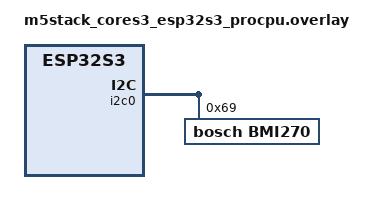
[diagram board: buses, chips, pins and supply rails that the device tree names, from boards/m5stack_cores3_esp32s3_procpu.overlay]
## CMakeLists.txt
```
# SPDX-License-Identifier: Apache-2.0

# 1. Basic Zephyr project setup
cmake_minimum_required(VERSION 3.20.5)
find_package(Zephyr REQUIRED HINTS $ENV{ZEPHYR_BASE})
project(imu_real_inference)

# 2. Add the Edge Impulse SDK as a subdirectory.
#    This includes the TFLite model source files and other dependencies.
include(edge-impulse-sdk/cmake/utils.cmake)
add_subdirectory(edge-impulse-sdk/cmake/zephyr)

# 3. Add model source files and the main application source file to the target.
#    In Zephyr, using target_sources(app ...) automatically creates the 'app' target.

#    Recursively find and add the model source files.
RECURSIVE_FIND_FILE_APPEND(MODEL_SOURCE "tflite-model" "*.cpp")
target_sources(app PRIVATE ${MODEL_SOURCE})

#    Add the main source file (main.cpp).
#    If the file is in the 'src' folder:
target_sources(app PRIVATE src/main.cpp)
#    If the file is in the project root directory:
#    target_sources(app PRIVATE main.cpp)

# 4. Specify include directories.
#    Add the project root directory to the include path.
target_include_directories(app PRIVATE .)

# 5. Suppress warnings from Edge Impulse SDK
target_compile_options(app PRIVATE -Wno-double-promotion -Wno-maybe-uninitialized)

# 6. Disable ESP-IDF specific hardware acceleration (ESP-NN and ESP-DSP)
target_compile_definitions(app PRIVATE
    EI_CLASSIFIER_TFLITE_ENABLE_ESP_NN=0
    EIDSP_USE_ESP_DSP=0
)

# 7. Add missing include directories for ESP-DSP
target_include_directories(app PRIVATE
    edge-impulse-sdk/porting/espressif/esp-dsp/modules/common/include
    edge-impulse-sdk/porting/espressif/esp-dsp/modules/math/include
    edge-impulse-sdk/porting/espressif/esp-dsp/modules/matrix/include
    edge-impulse-sdk/porting/espressif/esp-dsp/modules/fft/include
    edge-impulse-sdk/porting/espressif/esp-dsp/modules/dct/include
    edge-impulse-sdk/porting/espressif/esp-dsp/modules/conv/include
    edge-impulse-sdk/porting/espressif/esp-dsp/modules/iir/include
    edge-impulse-sdk/porting/espressif/esp-dsp/modules/fir/include
    edge-impulse-sdk/porting/espressif/esp-dsp/modules/windows/include
    edge-impulse-sdk/porting/espressif/esp-dsp/modules/support/include
    edge-impulse-sdk/porting/espressif/esp-dsp/modules/dotprod/include
)
```

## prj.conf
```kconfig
# ==============================================================================
# Basic System Configuration
# ==============================================================================
# Enable C++ language support
CONFIG_CPP=y
# Enable the standard C++ library (Glibcxx/Libc++)
CONFIG_GLIBCXX_LIBCPP=y
# Use Newlib C Library
CONFIG_NEWLIB_LIBC=y
# Enable floating-point formatting support (%f) for printf functions in Newlib
CONFIG_NEWLIB_LIBC_FLOAT_PRINTF=y

# Enable the FPU (Floating Point Unit)
CONFIG_FPU=y

# Increase the main thread stack size to 8192 bytes (often needed for ML models)
CONFIG_MAIN_STACK_SIZE=8192


# ==============================================================================
# Logging & Console
# ==============================================================================
# Enable the logging system
CONFIG_LOG=y
# Set the stack size for the log processing thread to 1024 bytes
CONFIG_LOG_PROCESS_THREAD_STACK_SIZE=1024

# Enable assert functionality for debugging
CONFIG_ASSERT=y

# Enable the console subsystem
CONFIG_CONSOLE=y
# Enable the UART console backend
CONFIG_UART_CONSOLE=y
# Enable line-editing support for the console
CONFIG_CONSOLE_GETLINE=y


# ==============================================================================
# Hardware Drivers
# ==============================================================================
# Enable GPIO (General-Purpose Input/Output) driver
CONFIG_GPIO=y
# Enable I2C (Inter-Integrated Circuit) driver
CONFIG_I2C=y
# Enable the sensor subsystem
CONFIG_SENSOR=y

CONFIG_MPU6050=y

# ==============================================================================
# Thread Analyzer & Runtime Statistics
# ==============================================================================
CONFIG_THREAD_ANALYZER=y
CONFIG_THREAD_ANALYZER_USE_PRINTK=y
CONFIG_THREAD_ANALYZER_AUTO=y
CONFIG_THREAD_ANALYZER_AUTO_INTERVAL=5
CONFIG_THREAD_NAME=y
CONFIG_SCHED_THREAD_USAGE=y
CONFIG_SCHED_THREAD_USAGE_ALL=y

# ==============================================================================
# Display & GUI (LVGL)
# ==============================================================================
CONFIG_DISPLAY=y
CONFIG_LVGL=y
CONFIG_INPUT=y
CONFIG_SHELL=y
CONFIG_LV_USE_LOG=y
CONFIG_LV_Z_MEM_POOL_SIZE=16384
CONFIG_LV_USE_LABEL=y
CONFIG_LV_USE_ARC=y
CONFIG_LV_USE_MONKEY=y
CONFIG_LV_FONT_MONTSERRAT_14=y
CONFIG_LV_FONT_MONTSERRAT_20=y
CONFIG_LV_FONT_MONTSERRAT_32=y
CONFIG_LV_FONT_MONTSERRAT_48=y
```

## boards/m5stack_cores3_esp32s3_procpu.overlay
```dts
/* SPDX-License-Identifier: Apache-2.0 */

/ {
	aliases {
		sensor-i2c = &i2c0;
		accel0 = &bmi270;
	};
};

&i2c0 {
	status = "okay";
	bmi270: bmi270@69 {
		compatible = "bosch,bmi270";
		reg = <0x69>;
	};
};
```

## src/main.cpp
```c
/*
 * SPDX-License-Identifier: Apache-2.0
 */

/**
 * @file main.cpp
 * @brief Main application entry point for accelerometer inferencing using Edge Impulse SDK on Zephyr.
 */

// --- Zephyr RTOS includes ---
#include <zephyr/kernel.h>
#include <zephyr/sys/util.h>
#include <string.h>
#include <zephyr/device.h>
#include <zephyr/drivers/i2c.h>
#include <zephyr/drivers/sensor.h>
#include <zephyr/logging/log.h>
#include <stdio.h>
#include <zephyr/drivers/display.h>
#include <lvgl.h>

// --- Edge Impulse SDK includes ---
#include "edge-impulse-sdk/classifier/ei_run_classifier.h"

// --- Constants and Macros ---
#define STANDARD_GRAVITY 9.80665f

// Sampling parameters
// Note: This frequency should match the data collection frequency in Edge Impulse Studio.
#define SAMPLING_RATE_HZ            100
#define SAMPLING_PERIOD_MS          (1000 / SAMPLING_RATE_HZ)

// Compile-time check for expected sensor axis count
#if EI_CLASSIFIER_RAW_SAMPLES_PER_FRAME != 3
#error "This implementation assumes 3-axis accelerometer data."
#endif

// Calculate the number of samples needed per inference window
#define NUM_SAMPLES_PER_INFERENCE   (EI_CLASSIFIER_DSP_INPUT_FRAME_SIZE / EI_CLASSIFIER_RAW_SAMPLES_PER_FRAME)

// Sliding window parameters (1000ms overlap)
#define SLIDING_WINDOW_MS           1000
#define NUM_SAMPLES_TO_SLIDE        ((SLIDING_WINDOW_MS * SAMPLING_RATE_HZ) / 1000)

// Register the logging module
LOG_MODULE_REGISTER(main, LOG_LEVEL_DBG);

// --- Global Variables and Device Definitions ---

// Static buffer to hold the features for one inference window
static float features_buffer[EI_CLASSIFIER_DSP_INPUT_FRAME_SIZE];
// Buffer to hold data specifically for the inference thread (Double Buffering)
static float inference_buffer[EI_CLASSIFIER_DSP_INPUT_FRAME_SIZE];
// Variables to track the logical time window of the current inference buffer
static float inference_window_start_s = 0.0f;
static float inference_window_end_s = 0.0f;

// Semaphore to trigger the inference thread
K_SEM_DEFINE(infer_sem, 0, 1);

// --- GUI Variables ---
static char current_face_str[32] = "( '_' )";
static char current_result_str[128] = "Waiting for AI...";
static K_MUTEX_DEFINE(gui_mutex);
static lv_obj_t *face_label = nullptr;
static lv_obj_t *result_label = nullptr;

// --- Function Prototypes ---
static int init_accel_sensor(const struct device *dev);
static void collect_sensor_data(const struct device *dev, uint32_t num_samples, uint32_t start_index);
static void run_inference(void);
static int raw_feature_get_data(size_t offset, size_t length, float *out_ptr);

// --- Thread Functions ---
static void sensor_thread_fn(void *p1, void *p2, void *p3)
{
    const struct device *const accel_sensor = DEVICE_DT_GET(DT_ALIAS(accel0));

    k_sleep(K_MSEC(1000)); // Give some time for serial terminal to catch up

    if (init_accel_sensor(accel_sensor) != 0) {
        LOG_ERR("Sensor setup failed. Please check wiring and I2C address.");
        return;
    }

    bool first_run = true;
    uint32_t window_count = 0;
    while (1) {
        if (first_run) {
            // Collect data for the entire buffer (2000ms) on the first run
            collect_sensor_data(accel_sensor, NUM_SAMPLES_PER_INFERENCE, 0);
            first_run = false;
        } else {
            // Shift old data to the left (discarding 1000ms) and collect new data into the second half (1000ms)
            size_t shift_elements = NUM_SAMPLES_TO_SLIDE * EI_CLASSIFIER_RAW_SAMPLES_PER_FRAME;
            size_t keep_elements = EI_CLASSIFIER_DSP_INPUT_FRAME_SIZE - shift_elements;
            memmove(features_buffer, features_buffer + shift_elements, keep_elements * sizeof(float));
            collect_sensor_data(accel_sensor, NUM_SAMPLES_TO_SLIDE, NUM_SAMPLES_PER_INFERENCE - NUM_SAMPLES_TO_SLIDE);
        }

        // Copy to the inference-specific buffer to prevent data from being overwritten during inference
        memcpy(inference_buffer, features_buffer, sizeof(features_buffer));

        // Record the logical time window for this inference (in seconds)
        inference_window_start_s = window_count * (SLIDING_WINDOW_MS / 1000.0f);
        inference_window_end_s = inference_window_start_s + (NUM_SAMPLES_PER_INFERENCE / (float)SAMPLING_RATE_HZ);
        window_count++;

        // Notify the inference thread
        k_sem_give(&infer_sem);
    }
}

static void inference_thread_fn(void *p1, void *p2, void *p3)
{
    while (1) {
        // Wait for data to be ready from the sensor thread
        k_sem_take(&infer_sem, K_FOREVER);
        
        run_inference();
    }
}

// --- GUI Thread ---
static void gui_thread_fn(void *p1, void *p2, void *p3)
{
    const struct device *display_dev = DEVICE_DT_GET(DT_CHOSEN(zephyr_display));
    if (!device_is_ready(display_dev)) {
        LOG_ERR("Display device not ready. GUI disabled.");
        return;
    }

    // Disable display blanking and turn on the backlight
    display_blanking_off(display_dev);

    // Create a label for the face string (larger font)
    face_label = lv_label_create(lv_scr_act());
    lv_label_set_text(face_label, current_face_str);
#ifdef CONFIG_LV_FONT_MONTSERRAT_48
    lv_obj_set_style_text_font(face_label, &lv_font_montserrat_48, LV_PART_MAIN);
#elif defined(CONFIG_LV_FONT_MONTSERRAT_32)
    lv_obj_set_style_text_font(face_label, &lv_font_montserrat_32, LV_PART_MAIN);
#endif
    lv_obj_set_style_text_align(face_label, LV_TEXT_ALIGN_CENTER, 0);
    lv_obj_align(face_label, LV_ALIGN_CENTER, 0, -30);

    // Create a label for the results
    result_label = lv_label_create(lv_scr_act());
    lv_label_set_text(result_label, current_result_str);
#ifdef CONFIG_LV_FONT_MONTSERRAT_20
    lv_obj_set_style_text_font(result_label, &lv_font_montserrat_20, LV_PART_MAIN);
#elif defined(CONFIG_LV_FONT_MONTSERRAT_14)
    lv_obj_set_style_text_font(result_label, &lv_font_montserrat_14, LV_PART_MAIN);
#endif
    lv_obj_set_style_text_align(result_label, LV_TEXT_ALIGN_CENTER, 0);
    lv_obj_align(result_label, LV_ALIGN_CENTER, 0, 40);

    char local_face_str[32] = "";
    char local_str[128] = "";

    while (1) {
        k_mutex_lock(&gui_mutex, K_FOREVER);
        if (strcmp(local_face_str, current_face_str) != 0) {
            strcpy(local_face_str, current_face_str);
            lv_label_set_text(face_label, local_face_str);
        }
        if (strcmp(local_str, current_result_str) != 0) {
            strcpy(local_str, current_result_str);
            lv_label_set_text(result_label, local_str);
        }
        k_mutex_unlock(&gui_mutex);

        lv_task_handler();
        k_sleep(K_MSEC(10));
    }
}

// --- Thread Definitions ---
K_THREAD_DEFINE(sensor_tid, 2048, sensor_thread_fn, NULL, NULL, NULL, 5, 0, 0);
K_THREAD_DEFINE(inference_tid, 8192, inference_thread_fn, NULL, NULL, NULL, 7, 0, 0);
// Define GUI thread with priority 6 (between sensor and inference)
K_THREAD_DEFINE(gui_tid, 4096, gui_thread_fn, NULL, NULL, NULL, 6, 0, 0);

// --- Main Application Entry Point ---
extern "C" int main(void)
{
    // Suspend the main thread after spawning worker threads
    k_sleep(K_FOREVER);
    return 0; // Should not be reached
}

// --- Function Definitions ---

/**
 * @brief Initializes the accelerometer sensor.
 */
static int init_accel_sensor(const struct device *dev)
{
    if (!device_is_ready(dev)) {
        LOG_ERR("Accelerometer: Device is not ready.");
        return -1;
    }

    struct sensor_value full_scale, sampling_freq, oversampling;

    /* Setting scale in G, due to loss of precision if the SI unit m/s^2 is used */
    full_scale.val1 = 2;            /* G */
    full_scale.val2 = 0;
    sampling_freq.val1 = SAMPLING_RATE_HZ; /* Hz. Performance mode */
    sampling_freq.val2 = 0;
    oversampling.val1 = 1;          /* Normal mode */
    oversampling.val2 = 0;

    sensor_attr_set(dev, SENSOR_CHAN_ACCEL_XYZ, SENSOR_ATTR_FULL_SCALE, &full_scale);
    sensor_attr_set(dev, SENSOR_CHAN_ACCEL_XYZ, SENSOR_ATTR_OVERSAMPLING, &oversampling);
    /* Set sampling frequency last as this also sets the appropriate power mode. */
    sensor_attr_set(dev, SENSOR_CHAN_ACCEL_XYZ, SENSOR_ATTR_SAMPLING_FREQUENCY, &sampling_freq);

    /* Setting scale in degrees/s to match the sensor scale */
    full_scale.val1 = 500;          /* dps */

    sensor_attr_set(dev, SENSOR_CHAN_GYRO_XYZ, SENSOR_ATTR_FULL_SCALE, &full_scale);
    sensor_attr_set(dev, SENSOR_CHAN_GYRO_XYZ, SENSOR_ATTR_OVERSAMPLING, &oversampling);
    /* Set sampling frequency last as this also sets the appropriate power mode. */
    sensor_attr_set(dev, SENSOR_CHAN_GYRO_XYZ, SENSOR_ATTR_SAMPLING_FREQUENCY, &sampling_freq);

    LOG_INF("Accelerometer: Device is ready.");
    return 0;
}

/**
 * @brief Collects sensor data for one inference window.
 */
static void collect_sensor_data(const struct device *dev, uint32_t num_samples, uint32_t start_index)
{
    struct sensor_value accel[3];

    LOG_INF("Collecting %u samples for the next inference...", num_samples);

    uint32_t samples_read = 0;
    int64_t collection_start_ms = k_uptime_get();

    while (samples_read < num_samples) {
        // Record the start time of the sample to maintain the sampling rate
        int64_t start_time_ms = k_uptime_get();

        // Fetch the latest sample from the sensor
        if (sensor_sample_fetch(dev) == 0) {
            sensor_channel_get(dev, SENSOR_CHAN_ACCEL_XYZ, accel);

            size_t current_index = (start_index + samples_read) * EI_CLASSIFIER_RAW_SAMPLES_PER_FRAME;
            features_buffer[current_index + 0] = (float)sensor_value_to_double(&accel[0]);
            features_buffer[current_index + 1] = (float)sensor_value_to_double(&accel[1]);
            features_buffer[current_index + 2] = (float)sensor_value_to_double(&accel[2]);

            samples_read++;
        } else {
            LOG_WRN("Failed to read sensor data, retrying sample %u...", samples_read);
        }

        // Calculate how long to sleep to match the target sampling period
        int sleep_time_ms = SAMPLING_PERIOD_MS - (int)(k_uptime_get() - start_time_ms);
        if (sleep_time_ms > 0) {
            k_sleep(K_MSEC(sleep_time_ms));
        }
    }
    
    int64_t collection_end_ms = k_uptime_get();
    float actual_period_ms = (float)(collection_end_ms - collection_start_ms) / num_samples;
    float actual_rate_hz = actual_period_ms > 0 ? (1000.0f / actual_period_ms) : 0.0f;
    LOG_INF("Data collection complete. Actual avg rate: %.2f Hz (Target: %d Hz)", (double)actual_rate_hz, SAMPLING_RATE_HZ);
}

/**
 * @brief Runs inference on the collected data and prints the results.
 */
static void run_inference(void)
{
    static int64_t last_inference_time_ms = 0;
    int64_t current_time_ms = k_uptime_get();
    int64_t inference_period_ms = 0;

    if (last_inference_time_ms != 0) {
        inference_period_ms = current_time_ms - last_inference_time_ms;
    }
    last_inference_time_ms = current_time_ms;

    // Create a signal object to wrap the data buffer
    signal_t features_signal;
    features_signal.total_length = EI_CLASSIFIER_DSP_INPUT_FRAME_SIZE;
    features_signal.get_data = &raw_feature_get_data;

    ei_impulse_result_t result = {0};

    if (inference_period_ms > 0) {
        LOG_INF("--- Running inference on data window: %.1fs - %.1fs (Period: %lld ms) ---", inference_window_start_s, inference_window_end_s, inference_period_ms);
    } else {
        LOG_INF("--- Running inference on data window: %.1fs - %.1fs ---", inference_window_start_s, inference_window_end_s);
    }

    // Run the classifier (DSP + Neural Network)
    EI_IMPULSE_ERROR res = run_classifier(&features_signal, &result, false);

    if (res != EI_IMPULSE_OK) {
        LOG_ERR("Classifier returned error: %d", res);
        return;
    }

    LOG_INF("Predictions (DSP: %d ms, Classification: %d ms, Anomaly: %d ms):",
            result.timing.dsp, result.timing.classification, result.timing.anomaly);
            
    float max_value = 0.0f;
    const char *best_label = "Unknown";

    // Print the probability for each class
    for (size_t ix = 0; ix < EI_CLASSIFIER_LABEL_COUNT; ix++) {
        float value = (float)result.classification[ix].value;
        LOG_INF("    %s: %.5f", result.classification[ix].label, (double)value);
        
        if (value > max_value) {
            max_value = value;
            best_label = result.classification[ix].label;
        }
    }

    // Select an emoticon based on the inference result label (using standard ASCII symbols only)
    const char *face_str = "( '_' )"; // Default (e.g. Unknown)
    if (strcmp(best_label, "m5_flick") == 0) {
        face_str = "( >_< )";
    } else if (strcmp(best_label, "m5_idle") == 0) {
        face_str = "( -_- ) zzz";
    } else if (strcmp(best_label, "m5_knock") == 0) {
        face_str = "( O_O )!";
    } else if (strcmp(best_label, "m5_updown") == 0) {
        face_str = "( @o@ )";
    }

    // Update GUI string safely using mutex
    k_mutex_lock(&gui_mutex, K_FOREVER);
    strcpy(current_face_str, face_str);
    if (inference_period_ms > 0) {
        snprintf(current_result_str, sizeof(current_result_str), "%s : %.0f%%\nPeriod: %lld ms", best_label, (double)(max_value * 100.0f), inference_period_ms);
    } else {
        snprintf(current_result_str, sizeof(current_result_str), "%s : %.0f%%\nPeriod: --- ms", best_label, (double)(max_value * 100.0f));
    }
    k_mutex_unlock(&gui_mutex);

#if EI_CLASSIFIER_HAS_ANOMALY == 1
    LOG_INF("    anomaly score: %.3f", (double)result.anomaly);
#endif

    printf("\n"); // Insert an empty line between the 1-second inference logs
}

/**
 * @brief Callback function to provide raw sample data to the Edge Impulse SDK.
 *
 * This function is called by the classifier to get slices of the feature buffer.
 *
 * @param offset Starting index of the data to fetch.
 * @param length Number of float values to fetch.
 * @param out_ptr Pointer to the buffer where the data should be copied.
 * @return 0 on success.
 */
int raw_feature_get_data(size_t offset, size_t length, float *out_ptr)
{
    // Copy the requested data from the inference buffer to the SDK's buffer
    memcpy(out_ptr, inference_buffer + offset, length * sizeof(float));
    return 0;
}
```
